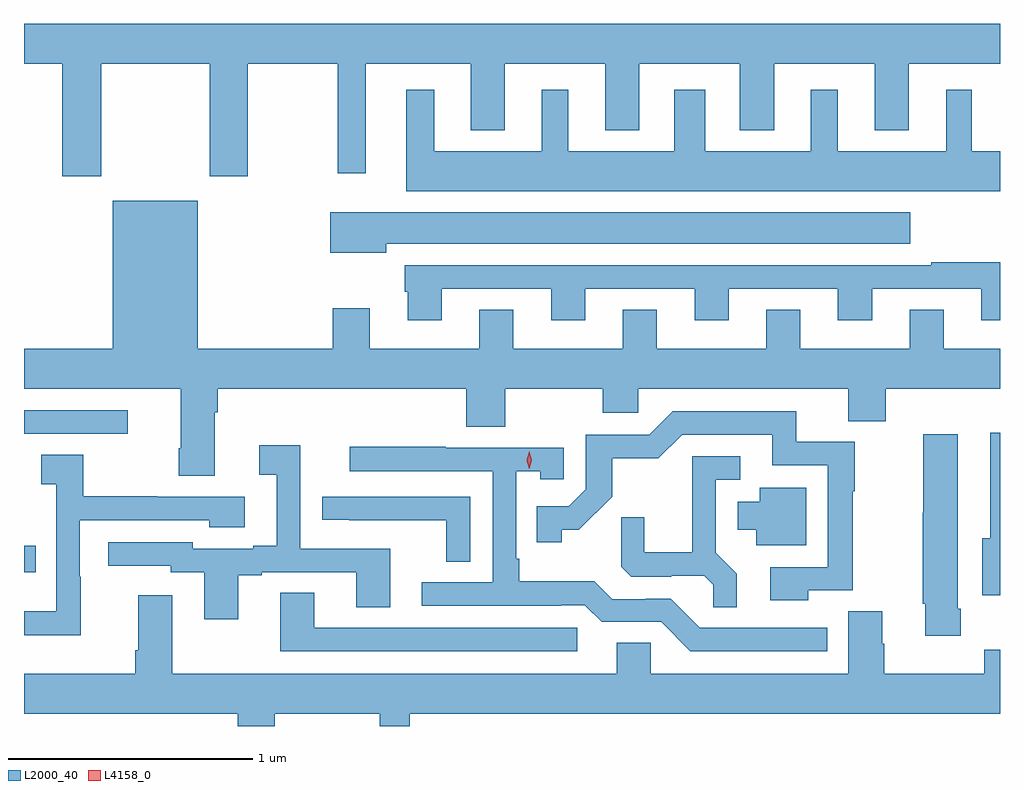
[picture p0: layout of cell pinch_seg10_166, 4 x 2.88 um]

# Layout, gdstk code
import gdstk
lib = gdstk.Library(unit=1e-6, precision=1e-09)
def R(c, l, rs):  # rectangles x0, y0, x1, y1
    for r in rs: c.add(gdstk.rectangle(r[:2], r[2:], *l))
def P(c, l, *ps):  # polygons
    for p in ps: c.add(gdstk.Polygon(p, *l))
L2000_40 = (2000, 40)
L4158_0 = (4158, 0)

pinch_seg10_166 = lib.new_cell('pinch_seg10_166')
R(pinch_seg10_166, L2000_40, [(682.469,1260.935,682.517,1261.045), (682.469,1261.503,682.894,1261.599)])
P(pinch_seg10_166, L2000_40, [(682.785,1263.02),(683.23,1263.02),(683.23,1262.559),(683.385,1262.559),(683.385,1263.02),(683.755,1263.02),(683.755,1262.571),(683.869,1262.571),(683.869,1263.02),(684.299,1263.02),(684.299,1262.747),(684.439,1262.747),(684.439,1263.02),(684.851,1263.02),(684.851,1262.747),(684.991,1262.747),(684.991,1263.02),(685.403,1263.02),(685.403,1262.747),(685.543,1262.747),(685.543,1263.02),(685.955,1263.02),(685.955,1262.747),(686.095,1262.747),(686.095,1263.02),(686.469,1263.02),(686.469,1263.184),(682.469,1263.184),(682.469,1263.02),(682.625,1263.02),(682.625,1262.559),(682.785,1262.559)],
  [(686.469,1262.662),(686.353,1262.662),(686.353,1262.914),(686.249,1262.914),(686.249,1262.662),(685.804,1262.662),(685.804,1262.914),(685.694,1262.914),(685.694,1262.662),(685.261,1262.662),(685.261,1262.914),(685.133,1262.914),(685.133,1262.662),(684.7,1262.662),(684.7,1262.914),(684.59,1262.914),(684.59,1262.662),(684.151,1262.662),(684.151,1262.914),(684.035,1262.914),(684.035,1262.498),(686.469,1262.498)],
  [(683.953,1262.282),(686.101,1262.282),(686.101,1262.41),(683.724,1262.41),(683.724,1262.246),(683.953,1262.246)],
  [(684.181,1262.097),(684.629,1262.097),(684.629,1261.968),(684.769,1261.968),(684.769,1262.097),(685.217,1262.097),(685.217,1261.968),(685.357,1261.968),(685.357,1262.097),(685.805,1262.097),(685.805,1261.968),(685.945,1261.968),(685.945,1262.097),(686.393,1262.097),(686.393,1261.968),(686.469,1261.968),(686.469,1262.206),(686.188,1262.206),(686.188,1262.193),(684.029,1262.193),(684.029,1262.085),(684.041,1262.085),(684.041,1261.968),(684.181,1261.968)],
  [(686.099,1262.012),(686.099,1261.852),(685.651,1261.852),(685.651,1262.012),(685.511,1262.012),(685.511,1261.852),(685.063,1261.852),(685.063,1262.012),(684.923,1262.012),(684.923,1261.852),(684.475,1261.852),(684.475,1262.012),(684.335,1262.012),(684.335,1261.852),(683.887,1261.852),(683.887,1262.017),(683.735,1262.017),(683.735,1261.852),(683.182,1261.852),(683.182,1262.458),(682.832,1262.458),(682.832,1261.852),(682.469,1261.852),(682.469,1261.688),(683.111,1261.688),(683.111,1261.444),(683.104,1261.444),(683.104,1261.332),(683.251,1261.332),(683.251,1261.592),(683.264,1261.592),(683.264,1261.688),(684.281,1261.688),(684.281,1261.531),(684.441,1261.531),(684.441,1261.688),(684.841,1261.688),(684.841,1261.59),(684.987,1261.59),(684.987,1261.688),(685.847,1261.688),(685.847,1261.555),(686,1261.555),(686,1261.688),(686.469,1261.688),(686.469,1261.852),(686.239,1261.852),(686.239,1262.012)],
  [(685.683,1260.861),(685.865,1260.861),(685.865,1261.267),(685.873,1261.267),(685.873,1261.47),(685.634,1261.47),(685.634,1261.596),(685.128,1261.596),(685.032,1261.5),(684.771,1261.5),(684.771,1261.275),(684.702,1261.206),(684.571,1261.206),(684.571,1261.059),(684.672,1261.059),(684.672,1261.109),(684.742,1261.109),(684.88,1261.246),(684.88,1261.402),(685.069,1261.402),(685.167,1261.5),(685.535,1261.5),(685.535,1261.374),(685.764,1261.374),(685.764,1260.957),(685.527,1260.957),(685.527,1260.821),(685.683,1260.821)],
  [(686.469,1261.507),(686.429,1261.507),(686.429,1261.075),(686.396,1261.075),(686.396,1260.841),(686.469,1260.841)],
  [(686.309,1260.787),(686.296,1260.787),(686.296,1261.501),(686.155,1261.501),(686.155,1261.179),(686.153,1261.179),(686.153,1260.807),(686.162,1260.807),(686.162,1260.675),(686.309,1260.675)],
  [(683.347,1260.924),(683.443,1260.924),(683.443,1260.936),(683.831,1260.936),(683.831,1260.793),(683.971,1260.793),(683.971,1261.032),(683.601,1261.032),(683.601,1261.456),(683.433,1261.456),(683.433,1261.336),(683.504,1261.336),(683.504,1261.045),(683.408,1261.045),(683.408,1261.032),(683.16,1261.032),(683.16,1261.059),(682.815,1261.059),(682.815,1260.963),(683.07,1260.963),(683.07,1260.936),(683.207,1260.936),(683.207,1260.744),(683.347,1260.744)],
  [(685.762,1260.708),(685.239,1260.708),(685.119,1260.828),(685.018,1260.828),(685.018,1260.825),(684.879,1260.825),(684.806,1260.898),(684.499,1260.898),(684.499,1260.991),(684.486,1260.991),(684.486,1261.349),(684.585,1261.349),(684.585,1261.317),(684.681,1261.317),(684.681,1261.446),(684.197,1261.446),(684.197,1261.449),(683.805,1261.449),(683.805,1261.35),(684.39,1261.35),(684.39,1260.894),(684.099,1260.894),(684.099,1260.798),(684.668,1260.798),(684.668,1260.801),(684.768,1260.801),(684.837,1260.732),(685.08,1260.732),(685.2,1260.612),(685.762,1260.612)],
  [(682.701,1260.917),(682.698,1260.917),(682.698,1261.149),(683.229,1261.149),(683.229,1261.121),(683.374,1261.121),(683.374,1261.245),(683.015,1261.245),(683.015,1261.248),(682.711,1261.248),(682.711,1261.418),(682.539,1261.418),(682.539,1261.297),(682.602,1261.297),(682.602,1260.775),(682.469,1260.775),(682.469,1260.677),(682.701,1260.677)],
  [(685.391,1260.929),(685.305,1261.015),(685.305,1261.314),(685.405,1261.314),(685.405,1261.41),(685.208,1261.41),(685.208,1261.018),(685.01,1261.018),(685.01,1261.161),(684.916,1261.161),(684.916,1260.959),(684.957,1260.918),(685.122,1260.918),(685.122,1260.921),(685.256,1260.921),(685.293,1260.884),(685.293,1260.793),(685.391,1260.793)],
  [(685.675,1261.282),(685.484,1261.282),(685.484,1261.225),(685.394,1261.225),(685.394,1261.109),(685.469,1261.109),(685.469,1261.046),(685.675,1261.046)],
  [(684.297,1261.245),(683.691,1261.245),(683.691,1261.15),(683.803,1261.15),(683.803,1261.149),(684.199,1261.149),(684.199,1260.979),(684.297,1260.979)],
  [(684.736,1260.708),(683.659,1260.708),(683.659,1260.851),(683.519,1260.851),(683.519,1260.612),(684.736,1260.612)],
  [(683.497,1260.356),(683.927,1260.356),(683.927,1260.304),(684.05,1260.304),(684.05,1260.356),(686.469,1260.356),(686.469,1260.619),(686.404,1260.619),(686.404,1260.52),(685.995,1260.52),(685.995,1260.642),(685.987,1260.642),(685.987,1260.776),(685.847,1260.776),(685.847,1260.52),(685.038,1260.52),(685.038,1260.647),(684.899,1260.647),(684.899,1260.52),(683.077,1260.52),(683.077,1260.841),(682.937,1260.841),(682.937,1260.616),(682.925,1260.616),(682.925,1260.52),(682.469,1260.52),(682.469,1260.356),(683.345,1260.356),(683.345,1260.304),(683.497,1260.304)])
P(pinch_seg10_166, L4158_0, [(684.539,1261.359),(684.53,1261.395),(684.539,1261.43),(684.54,1261.431),(684.54,1261.43),(684.55,1261.395),(684.54,1261.359),(684.54,1261.359)])

lib.write_gds('pinch_seg10_166.gds')
